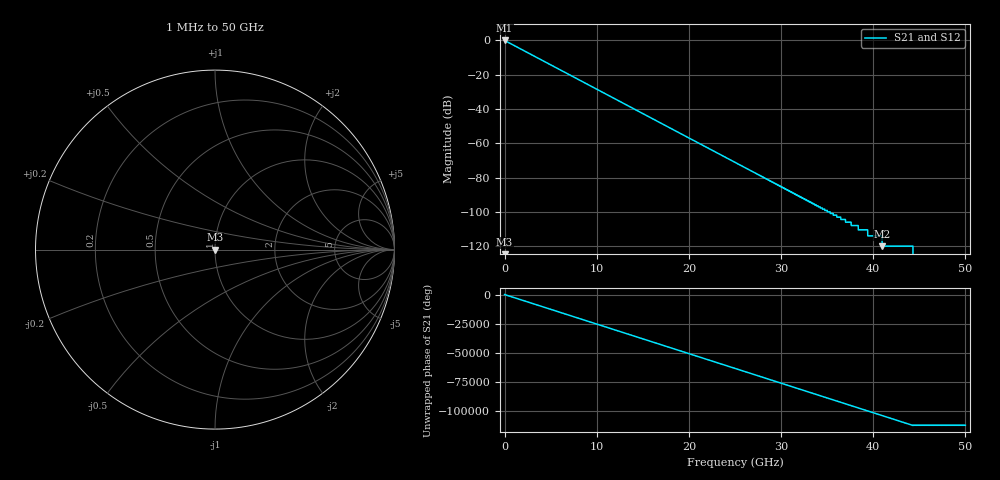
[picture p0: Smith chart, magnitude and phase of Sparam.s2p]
# GHz S MA R 50
! 2-port S-parameter file
! freq S11mag S11ang S21mag S21ang S12mag S12ang S22mag S22ang
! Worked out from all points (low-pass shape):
!   26231 points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, 1 MHz to 50 GHz, reference 50 ohm
!   highest |S21| = 0.00 dB at 1 MHz (marker M1); lowest = -120.0 dB at 40.96 GHz (marker M2)
!   |S21| within 3 dB of the highest: start of sweep to 1.056 GHz
!   lowest |S11| = - dB at 1 MHz (marker M3), VSWR 1.00, Z = 50 + j0 ohm
!   |S11| at or under -10 dB: start of sweep to end of sweep
!   |S22| runs from - to - dB; largest |S21 - S12| = 0
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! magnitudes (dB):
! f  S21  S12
! 1 MHz  0.0  0.0
! 66 MHz  -0.2  -0.2
! 131 MHz  -0.4  -0.4
! 2.335 GHz  -6.6  -6.6
! 2.4 GHz  -6.8  -6.8
! 2.461 GHz  -7.0  -7.0
! 2.591 GHz  -7.4  -7.4
! 2.719 GHz  -7.7  -7.7
! 8.335 GHz  -23.7  -23.7
! 16.67 GHz  -47.4  -47.4
! 25 GHz  -71.1  -71.1
! 27.87 GHz  -79.3  -79.3
! 27.95 GHz  -79.5  -79.5
! 28.03 GHz  -79.7  -79.7
! 28.12 GHz  -80.0  -80.0
! 28.2 GHz  -80.2  -80.2
! 28.29 GHz  -80.4  -80.4
! 28.38 GHz  -80.7  -80.7
! 33.33 GHz  -94.9  -94.9
! 40.96 GHz  -120.0  -120.0
! 41.67 GHz  -120.0  -120.0
! 50 GHz  -  -
